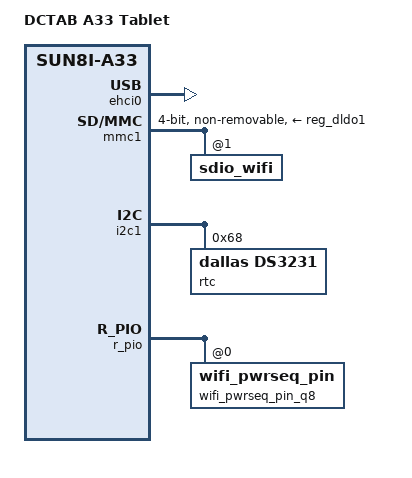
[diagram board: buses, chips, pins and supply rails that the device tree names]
/*
 */
/dts-v1/;
#include "sun8i-a33.dtsi"
#include "sun8i-reference-design-tablet.dtsi"

/ {
	model = "DCTAB A33 Tablet";
	compatible = "allwinner,dctab-a33", "allwinner,sun8i-a33";

	aliases {
		serial0 = &r_uart;
		/* Make u-boot set mac-address for wifi without an eeprom */
		ethernet0 = &sdio_wifi;
	};

	wifi_pwrseq: wifi_pwrseq {
		compatible = "mmc-pwrseq-simple";
		/*
		 * Q8 boards use various PL# pins as wifi-en. On other boards
		 * these may be connected to a wifi module output pin. To avoid
		 * short-circuits we configure these as inputs with pull-ups via
		 * pinctrl, instead of listing them as active-low reset-gpios.
		 */
		pinctrl-names = "default";
		pinctrl-0 = <&wifi_pwrseq_pin_q8>;
		/* The esp8089 needs 200 ms after driving wifi-en high */
		post-power-on-delay-ms = <200>;
	};
};

&ehci0 {
	status  = "okay";
};

&mmc1 {
	pinctrl-names = "default";
	pinctrl-0 = <&mmc1_pins_a>;
	vmmc-supply = <&reg_dldo1>;
	mmc-pwrseq = <&wifi_pwrseq>;
	bus-width = <4>;
	non-removable;
	status = "okay";

	sdio_wifi: sdio_wifi@1 {
		reg = <1>;
	};
};

&mmc1_pins_a {
	bias-pull-up;
};

&i2c1 {
	rtc@68 {
		compatible = "dallas,ds3231";
		reg = <0x68>;
	};
};

&r_pio {
	wifi_pwrseq_pin_q8: wifi_pwrseq_pin@0 {
		pins = "PL6", "PL7", "PL11";
		function = "gpio_in";
		bias-pull-up;
	};
};

&usbphy {
	usb1_vbus-supply = <&reg_dldo1>;
};
